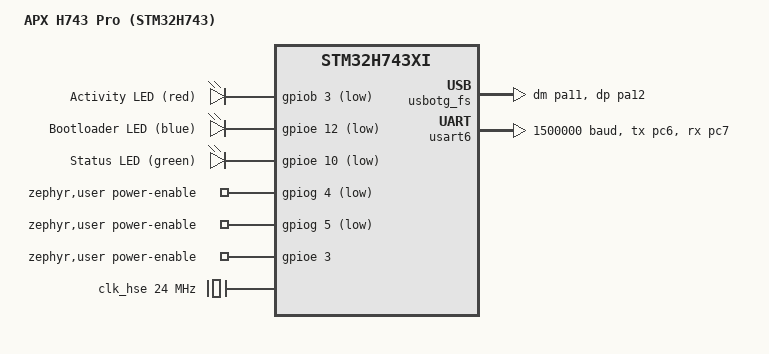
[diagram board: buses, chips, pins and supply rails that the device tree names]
/*
 * SPDX-License-Identifier: CC-BY-NC-4.0
 * Copyright (c) 2026 Savita Pawar <savitapawar0402@gmail.com>
 * Author: Savita Pawar (SVPR94)
 * Created: 2026
 *
 * APX H743 Pro flight controller (STM32H743, Cortex-M7 at 400 MHz).
 *
 * Pins from platforms/stm32h7/boards/apx_h743_pro/hwdef.dat: 24 MHz crystal,
 * 128 KB bootloader at the start of flash (.apj board id 22336), USB OTG FS
 * on PA11/PA12 as the GCS link, STM32F103 IO MCU on USART6 (MAIN 1-8, RC
 * input, safety switch; pin map in iomcu.dat). The same board without an IO
 * MCU is the APX H743 v1.
 */
/dts-v1/;
#include <st/h7/stm32h743Xi.dtsi>
#include <st/h7/stm32h743xihx-pinctrl.dtsi>
#include <zephyr/dt-bindings/gpio/gpio.h>

/ {
	model = "APX H743 Pro (STM32H743)";
	compatible = "apx,apx-h743-pro";

	chosen {
		zephyr,sram = &sram0;
		zephyr,dtcm = &dtcm;
		zephyr,flash = &flash0;
		zephyr,code-partition = &app_partition;
		apx,gcs-uart = &cdc_acm_uart0;
		apx,iomcu-uart = &usart6;
	};

	leds {
		compatible = "gpio-leds";
		led_activity: led_activity {
			gpios = <&gpiob 3 (GPIO_ACTIVE_LOW | GPIO_OPEN_DRAIN)>;
			label = "Activity LED (red)";
		};
		led_bootloader: led_bootloader {
			gpios = <&gpioe 12 (GPIO_ACTIVE_LOW | GPIO_OPEN_DRAIN)>;
			label = "Bootloader LED (blue)";
		};
		led_status: led_status {
			gpios = <&gpioe 10 (GPIO_ACTIVE_LOW | GPIO_OPEN_DRAIN)>;
			label = "Status LED (green)";
		};
	};

	aliases {
		led0 = &led_activity;
	};

	/* APX board properties - see platforms/zephyr/app/src/board_zephyr.cpp */
	zephyr,user {
		/* Switched on in this order: peripheral 5V (GPS / telemetry
		 * ports), high-power 5V, then the sensor 3V3 rail. */
		power-enable-gpios = <&gpiog 4 GPIO_ACTIVE_LOW>,
				     <&gpiog 5 GPIO_ACTIVE_LOW>,
				     <&gpioe 3 GPIO_ACTIVE_HIGH>;
		power-enable-delay-ms = <20>;
		apj-board-id = <22336>;
	};

	/* APX boot control: application <-> bootloader handshake across a
	 * reset (bootloader/include/apx/bootloader/boot_control.hpp). The last
	 * 1 KB of DTCM, outside both images' RAM (&dtcm is shrunk below) and
	 * never cached. */
	apx_boot_control: boot-control@2001fc00 {
		reg = <0x2001fc00 DT_SIZE_K(1)>;
	};
};

&clk_hse {
	clock-frequency = <DT_FREQ_M(24)>;
	status = "okay";
};

/* USB 48 MHz */
&clk_hsi48 {
	status = "okay";
};

/* 24 MHz / 3 = 8 MHz PLL input, * 100 = 800 MHz VCO, / 2 = 400 MHz SYSCLK (VOS1) */
&pll {
	div-m = <3>;
	mul-n = <100>;
	div-p = <2>;
	div-q = <10>;
	div-r = <2>;
	clocks = <&clk_hse>;
	status = "okay";
};

&rcc {
	clocks = <&pll>;
	clock-frequency = <DT_FREQ_M(400)>;
	d1cpre = <1>;
	hpre = <2>;
	d1ppre = <2>;
	d2ppre1 = <2>;
	d2ppre2 = <2>;
	d3ppre = <2>;
};

/* STM32H743: internal LDO core supply (no SMPS on this part). */
&pwr {
	power-supply = "ldo";
};

&flash0 {
	partitions {
		compatible = "fixed-partitions";
		#address-cells = <1>;
		#size-cells = <1>;

		/* Bootloader - never written by APX */
		bootloader_partition: partition@0 {
			label = "bootloader";
			reg = <0x00000000 DT_SIZE_K(128)>;
			read-only;
		};
		/* APX firmware: the bootloader jumps to 0x08020000 */
		app_partition: partition@20000 {
			label = "apx-firmware";
			reg = <0x00020000 DT_SIZE_K(896)>;
		};
	};
};

zephyr_udc0: &usbotg_fs {
	pinctrl-0 = <&usb_otg_fs_dm_pa11 &usb_otg_fs_dp_pa12>;
	pinctrl-names = "default";
	status = "okay";

	cdc_acm_uart0: cdc_acm_uart0 {
		compatible = "zephyr,cdc-acm-uart";
		label = "APX MAVLink";
	};
};

/* IO MCU link: register protocol at 1.5 Mbaud (drivers/iomcu) */
&usart6 {
	pinctrl-0 = <&usart6_tx_pc6 &usart6_rx_pc7>;
	pinctrl-names = "default";
	current-speed = <1500000>;
	fifo-enable;
	status = "okay";
};

/* Last 1 KB of DTCM reserved for apx_boot_control. */
&dtcm {
	reg = <0x20000000 DT_SIZE_K(127)>;
};
